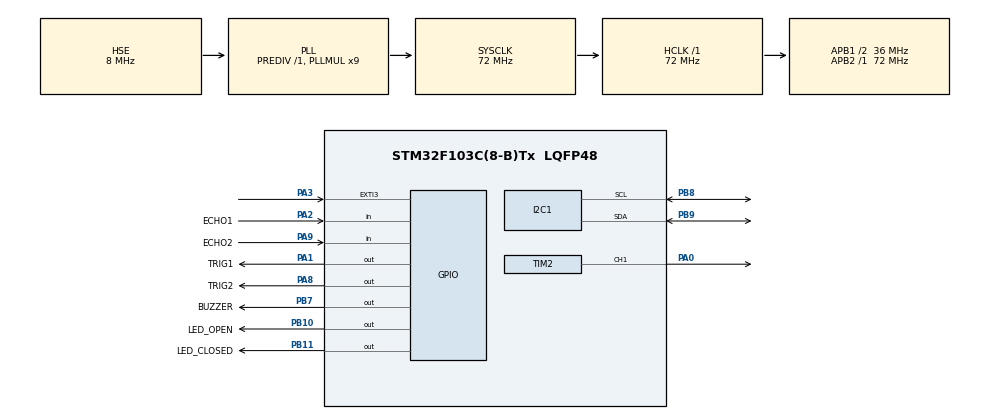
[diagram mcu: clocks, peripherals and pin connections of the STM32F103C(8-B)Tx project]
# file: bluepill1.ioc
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Mcu.Family=STM32F1
Mcu.Name=STM32F103C(8-B)Tx
Mcu.Package=LQFP48
NVIC.EXTI3_IRQn=true\:0\:0\:false\:false\:true\:true\:true\:true
NVIC.PriorityGroup=NVIC_PRIORITYGROUP_4
PA0-WKUP.Signal=S_TIM2_CH1_ETR
PA1.GPIO_Label=TRIG1
PA1.Signal=GPIO_Output
PA13.Mode=Serial_Wire
PA13.Signal=SYS_JTMS-SWDIO
PA14.Mode=Serial_Wire
PA14.Signal=SYS_JTCK-SWCLK
PA2.GPIO_Label=ECHO1
PA2.Signal=GPIO_Input
PA3.GPIO_ModeDefaultEXTI=GPIO_MODE_IT_RISING_FALLING
PA3.GPIO_PuPd=GPIO_PULLUP
PA3.Signal=GPXTI3
PA8.GPIO_Label=TRIG2
PA8.Signal=GPIO_Output
PA9.GPIO_Label=ECHO2
PA9.Signal=GPIO_Input
PB10.GPIO_Label=LED_OPEN
PB10.Signal=GPIO_Output
PB11.GPIO_Label=LED_CLOSED
PB11.Signal=GPIO_Output
PB7.GPIO_Label=BUZZER
PB7.Signal=GPIO_Output
PB8.Mode=I2C
PB8.Signal=I2C1_SCL
PB9.Mode=I2C
PB9.Signal=I2C1_SDA
PD0-OSC_IN.Mode=HSE-External-Oscillator
PD0-OSC_IN.Signal=RCC_OSC_IN
PD1-OSC_OUT.Mode=HSE-External-Oscillator
PD1-OSC_OUT.Signal=RCC_OSC_OUT
ProjectManager.HeapSize=0x200
ProjectManager.StackSize=0x400
ProjectManager.TargetToolchain=MDK-ARM V5.32
RCC.AHBFreq_Value=72000000
RCC.APB1CLKDivider=RCC_HCLK_DIV2
RCC.APB1Freq_Value=36000000
RCC.APB1TimFreq_Value=72000000
RCC.APB2Freq_Value=72000000
RCC.APB2TimFreq_Value=72000000
RCC.HCLKFreq_Value=72000000
RCC.PLLMUL=RCC_PLL_MUL9
RCC.PLLSourceVirtual=RCC_PLLSOURCE_HSE
RCC.SYSCLKFreq_VALUE=72000000
RCC.SYSCLKSource=RCC_SYSCLKSOURCE_PLLCLK
RCC.USBFreq_Value=72000000
SH.S_TIM2_CH1_ETR.0=TIM2_CH1,PWM Generation1 CH1
TIM2.Channel-PWM\ Generation1\ CH1=TIM_CHANNEL_1
TIM2.Period=19999
TIM2.Prescaler=71
TIM3.Prescaler=71
VP_TIM2_VS_ClockSourceINT.Mode=Internal
VP_TIM3_VS_ClockSourceINT.Mode=Internal
board=custom

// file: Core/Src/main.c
#include "main.h"

/* USER CODE BEGIN Includes */
#include "i2c-lcd.h"
#include <stdio.h>
/* USER CODE END Includes */

/* USER CODE BEGIN PTD */
typedef enum {
    BIN_CLOSED = 0,
    BIN_OPEN_WAITING,
    BIN_MANUAL_OPEN
} BinState_t;

/* USER CODE END PTD */

I2C_HandleTypeDef hi2c1;

TIM_HandleTypeDef htim2;
TIM_HandleTypeDef htim3;

/* USER CODE BEGIN PV */
I2C_LCD_HandleTypeDef my_lcd;

// Sensor Values
uint16_t Distance = 0;
uint16_t FillDistance = 0;
int FillPercentage = 0;

// Timing Tracking
uint32_t last_sensor_time = 0;
uint32_t motion_timestamp = 0;
uint32_t last_servo_move = 0;
static uint32_t last_fill_time = 0;

// State Variables
int current_pos = 1500;
int target_pos = 1500;
BinState_t current_state = BIN_CLOSED;
uint8_t was_full = 0;

// Buzzer Variables
uint8_t  buzzer_beeps_remaining = 0;
uint32_t buzzer_next_toggle = 0;
uint16_t buzzer_interval = 0;

/* USER CODE END PV */

void SystemClock_Config(void);
static void MX_GPIO_Init(void);
static void MX_TIM2_Init(void);
static void MX_I2C1_Init(void);
static void MX_TIM3_Init(void);
/* USER CODE BEGIN PFP */

float HCSR04_Read(GPIO_TypeDef* TRIG_PORT, uint16_t TRIG_PIN, GPIO_TypeDef* ECHO_PORT, uint16_t ECHO_PIN);
void Update_Servo_Position(uint32_t now);
void Set_Bin_Indicators(uint8_t open);
void Update_Fill_Level(uint32_t now);
void buzzer_start_sequence(uint8_t times, uint16_t duration_ms);
void Process_Buzzer(uint32_t now);

/* USER CODE END PFP */

int main(void)
{

  /* MCU Configuration--------------------------------------------------------*/

  /* Reset of all peripherals, Initializes the Flash interface and the Systick. */
  HAL_Init();

  /* Configure the system clock */
  SystemClock_Config();

  /* Initialize all configured peripherals */
  MX_GPIO_Init();
  MX_TIM2_Init();
  MX_I2C1_Init();
  MX_TIM3_Init();
  /* USER CODE BEGIN 2 */
  HAL_TIM_Base_Start(&htim2);
  HAL_TIM_PWM_Start(&htim2, TIM_CHANNEL_1);

  /* Force initial servo position */
  current_pos = 1500;
  target_pos  = 1500;
  __HAL_TIM_SET_COMPARE(&htim2, TIM_CHANNEL_1, current_pos);
  HAL_Delay(400);      // Allow servo to lock position

  HAL_TIM_Base_Start(&htim3);
  HAL_Delay(200);

  // Setup LCD configuration
  my_lcd.hi2c = &hi2c1;
  HAL_Delay(100);
  my_lcd.address = 0x27<<1;

  HAL_Delay(500);          // Let LCD fully power up
  lcd_init(&my_lcd);
  lcd_clear(&my_lcd);

  HAL_GPIO_WritePin(LED_CLOSED_GPIO_Port, LED_CLOSED_Pin, GPIO_PIN_SET); // Red LED ON

  /* USER CODE END 2 */

  /* Infinite loop */
  /* USER CODE BEGIN WHILE */

  while (1)
    {
        uint32_t now = HAL_GetTick();

        // 1. SENSOR POLLING (Motion Sensor)
        if ((now - last_sensor_time > 150) && (current_state == BIN_CLOSED)) {
            float d = HCSR04_Read(TRIG1_GPIO_Port, TRIG1_Pin, ECHO1_GPIO_Port, ECHO1_Pin);
            Distance = (d <= 2.0f || d > 400.0f) ? 999 : (uint16_t)d;
            last_sensor_time = now;
        }

        // 2. FILL LEVEL (LCD Update)
        Update_Fill_Level(now);

        // 3. STATE MACHINE
        switch (current_state) {
            case BIN_CLOSED:
                {

                    uint8_t hand_detected = (Distance >= 3 && Distance < 20);

                    if (hand_detected  && now > 2000) {
                        target_pos = 500; // Open Lid
                        motion_timestamp = now;
                        Set_Bin_Indicators(1);
                        buzzer_start_sequence(2, 100);
                        current_state = BIN_OPEN_WAITING;
                    }
                }
                break;

            case BIN_OPEN_WAITING: // State 1
            	if (now - motion_timestamp > 10000) {
            	    target_pos = 1500;
            	    Set_Bin_Indicators(0);
            	    Distance = 999;
            	    current_state = BIN_CLOSED;
            	}
                break;

			case BIN_MANUAL_OPEN: // State 3
				if (now - motion_timestamp > 10000) {
					 target_pos = 1500;
					 Set_Bin_Indicators(0);
					 Distance=999;
					 current_state = BIN_CLOSED;
				}
				break;
        }

        Update_Servo_Position(now);
        Process_Buzzer(now);
    }

    /* USER CODE END WHILE */

 }

void SystemClock_Config(void)
{
  RCC_OscInitTypeDef RCC_OscInitStruct = {0};
  RCC_ClkInitTypeDef RCC_ClkInitStruct = {0};

  /** Initializes the RCC Oscillators according to the specified parameters
  * in the RCC_OscInitTypeDef structure.
  */
  RCC_OscInitStruct.OscillatorType = RCC_OSCILLATORTYPE_HSE;
  RCC_OscInitStruct.HSEState = RCC_HSE_ON;
  RCC_OscInitStruct.HSEPredivValue = RCC_HSE_PREDIV_DIV1;
  RCC_OscInitStruct.HSIState = RCC_HSI_ON;
  RCC_OscInitStruct.PLL.PLLState = RCC_PLL_ON;
  RCC_OscInitStruct.PLL.PLLSource = RCC_PLLSOURCE_HSE;
  RCC_OscInitStruct.PLL.PLLMUL = RCC_PLL_MUL9;
  if (HAL_RCC_OscConfig(&RCC_OscInitStruct) != HAL_OK)
  {
    Error_Handler();
  }

  /** Initializes the CPU, AHB and APB buses clocks
  */
  RCC_ClkInitStruct.ClockType = RCC_CLOCKTYPE_HCLK|RCC_CLOCKTYPE_SYSCLK
                              |RCC_CLOCKTYPE_PCLK1|RCC_CLOCKTYPE_PCLK2;
  RCC_ClkInitStruct.SYSCLKSource = RCC_SYSCLKSOURCE_PLLCLK;
  RCC_ClkInitStruct.AHBCLKDivider = RCC_SYSCLK_DIV1;
  RCC_ClkInitStruct.APB1CLKDivider = RCC_HCLK_DIV2;
  RCC_ClkInitStruct.APB2CLKDivider = RCC_HCLK_DIV1;

  if (HAL_RCC_ClockConfig(&RCC_ClkInitStruct, FLASH_LATENCY_2) != HAL_OK)
  {
    Error_Handler();
  }
}

static void MX_I2C1_Init(void)
{

  hi2c1.Instance = I2C1;
  hi2c1.Init.ClockSpeed = 100000;
  hi2c1.Init.DutyCycle = I2C_DUTYCYCLE_2;
  hi2c1.Init.OwnAddress1 = 0;
  hi2c1.Init.AddressingMode = I2C_ADDRESSINGMODE_7BIT;
  hi2c1.Init.DualAddressMode = I2C_DUALADDRESS_DISABLE;
  hi2c1.Init.OwnAddress2 = 0;
  hi2c1.Init.GeneralCallMode = I2C_GENERALCALL_DISABLE;
  hi2c1.Init.NoStretchMode = I2C_NOSTRETCH_DISABLE;
  if (HAL_I2C_Init(&hi2c1) != HAL_OK)
  {
    Error_Handler();
  }

}

static void MX_TIM2_Init(void)
{

  TIM_ClockConfigTypeDef sClockSourceConfig = {0};
  TIM_MasterConfigTypeDef sMasterConfig = {0};
  TIM_OC_InitTypeDef sConfigOC = {0};

  htim2.Instance = TIM2;
  htim2.Init.Prescaler = 71;
  htim2.Init.CounterMode = TIM_COUNTERMODE_UP;
  htim2.Init.Period = 19999;
  htim2.Init.ClockDivision = TIM_CLOCKDIVISION_DIV1;
  htim2.Init.AutoReloadPreload = TIM_AUTORELOAD_PRELOAD_DISABLE;
  if (HAL_TIM_Base_Init(&htim2) != HAL_OK)
  {
    Error_Handler();
  }
  sClockSourceConfig.ClockSource = TIM_CLOCKSOURCE_INTERNAL;
  if (HAL_TIM_ConfigClockSource(&htim2, &sClockSourceConfig) != HAL_OK)
  {
    Error_Handler();
  }
  if (HAL_TIM_PWM_Init(&htim2) != HAL_OK)
  {
    Error_Handler();
  }
  sMasterConfig.MasterOutputTrigger = TIM_TRGO_RESET;
  sMasterConfig.MasterSlaveMode = TIM_MASTERSLAVEMODE_DISABLE;
  if (HAL_TIMEx_MasterConfigSynchronization(&htim2, &sMasterConfig) != HAL_OK)
  {
    Error_Handler();
  }
  sConfigOC.OCMode = TIM_OCMODE_PWM1;
  sConfigOC.Pulse = 0;
  sConfigOC.OCPolarity = TIM_OCPOLARITY_HIGH;
  sConfigOC.OCFastMode = TIM_OCFAST_DISABLE;
  if (HAL_TIM_PWM_ConfigChannel(&htim2, &sConfigOC, TIM_CHANNEL_1) != HAL_OK)
  {
    Error_Handler();
  }
  HAL_TIM_MspPostInit(&htim2);

}

static void MX_TIM3_Init(void)
{

  TIM_ClockConfigTypeDef sClockSourceConfig = {0};
  TIM_MasterConfigTypeDef sMasterConfig = {0};

  htim3.Instance = TIM3;
  htim3.Init.Prescaler = 71;
  htim3.Init.CounterMode = TIM_COUNTERMODE_UP;
  htim3.Init.Period = 65535;
  htim3.Init.ClockDivision = TIM_CLOCKDIVISION_DIV1;
  htim3.Init.AutoReloadPreload = TIM_AUTORELOAD_PRELOAD_DISABLE;
  if (HAL_TIM_Base_Init(&htim3) != HAL_OK)
  {
    Error_Handler();
  }
  sClockSourceConfig.ClockSource = TIM_CLOCKSOURCE_INTERNAL;
  if (HAL_TIM_ConfigClockSource(&htim3, &sClockSourceConfig) != HAL_OK)
  {
    Error_Handler();
  }
  sMasterConfig.MasterOutputTrigger = TIM_TRGO_RESET;
  sMasterConfig.MasterSlaveMode = TIM_MASTERSLAVEMODE_DISABLE;
  if (HAL_TIMEx_MasterConfigSynchronization(&htim3, &sMasterConfig) != HAL_OK)
  {
    Error_Handler();
  }

}

static void MX_GPIO_Init(void)
{
  GPIO_InitTypeDef GPIO_InitStruct = {0};

  /* GPIO Ports Clock Enable */
  __HAL_RCC_GPIOD_CLK_ENABLE();
  __HAL_RCC_GPIOA_CLK_ENABLE();
  __HAL_RCC_GPIOB_CLK_ENABLE();

  /*Configure GPIO pin Output Level */
  HAL_GPIO_WritePin(GPIOA, TRIG1_Pin|TRIG2_Pin, GPIO_PIN_RESET);

  /*Configure GPIO pin Output Level */
  HAL_GPIO_WritePin(GPIOB, LED_OPEN_Pin|LED_CLOSED_Pin|BUZZER_Pin, GPIO_PIN_RESET);

  /*Configure GPIO pins : TRIG1_Pin TRIG2_Pin */
  GPIO_InitStruct.Pin = TRIG1_Pin|TRIG2_Pin;
  GPIO_InitStruct.Mode = GPIO_MODE_OUTPUT_PP;
  GPIO_InitStruct.Pull = GPIO_NOPULL;
  GPIO_InitStruct.Speed = GPIO_SPEED_FREQ_LOW;
  HAL_GPIO_Init(GPIOA, &GPIO_InitStruct);

  /*Configure GPIO pins : ECHO1_Pin ECHO2_Pin */
  GPIO_InitStruct.Pin = ECHO1_Pin|ECHO2_Pin;
  GPIO_InitStruct.Mode = GPIO_MODE_INPUT;
  GPIO_InitStruct.Pull = GPIO_NOPULL;
  HAL_GPIO_Init(GPIOA, &GPIO_InitStruct);

  /*Configure GPIO pin : PA3 */
  GPIO_InitStruct.Pin = GPIO_PIN_3;
  GPIO_InitStruct.Mode = GPIO_MODE_IT_RISING_FALLING;
  GPIO_InitStruct.Pull = GPIO_PULLUP;
  HAL_GPIO_Init(GPIOA, &GPIO_InitStruct);

  /*Configure GPIO pins : LED_OPEN_Pin LED_CLOSED_Pin BUZZER_Pin */
  GPIO_InitStruct.Pin = LED_OPEN_Pin|LED_CLOSED_Pin|BUZZER_Pin;
  GPIO_InitStruct.Mode = GPIO_MODE_OUTPUT_PP;
  GPIO_InitStruct.Pull = GPIO_NOPULL;
  GPIO_InitStruct.Speed = GPIO_SPEED_FREQ_LOW;
  HAL_GPIO_Init(GPIOB, &GPIO_InitStruct);

  /* EXTI interrupt init*/
  HAL_NVIC_SetPriority(EXTI3_IRQn, 0, 0);
  HAL_NVIC_EnableIRQ(EXTI3_IRQn);

}

/* USER CODE BEGIN 4 */

void HAL_GPIO_EXTI_Callback(uint16_t GPIO_Pin)
{
    static uint32_t last_press = 0;

    if (GPIO_Pin == GPIO_PIN_3) {
        uint32_t now = HAL_GetTick();

        // debounce: 300 ms
        if (now - last_press < 300) return;
        last_press = now;

        // only allow manual open from closed state
        if (current_state == BIN_CLOSED) {
            current_state = BIN_MANUAL_OPEN;
            target_pos = 500;
            motion_timestamp = now;
            Set_Bin_Indicators(1);
            buzzer_start_sequence(2, 100);
        }
    }
}

// Trigger a beep sequence
void buzzer_start_sequence(uint8_t times, uint16_t duration_ms) {
    buzzer_beeps_remaining = times * 2; // 2 toggles per beep (ON then OFF)
    buzzer_interval = duration_ms;
    buzzer_next_toggle = HAL_GetTick();
}

void Process_Buzzer(uint32_t now) {
    if (buzzer_beeps_remaining > 0) {
        if (now >= buzzer_next_toggle) {
            HAL_GPIO_TogglePin(BUZZER_GPIO_Port, BUZZER_Pin);
            buzzer_beeps_remaining--;
            buzzer_next_toggle = now + buzzer_interval;
        }
    } else {
        HAL_GPIO_WritePin(BUZZER_GPIO_Port, BUZZER_Pin, GPIO_PIN_RESET);
    }
}

// open led and close led function
void Set_Bin_Indicators(uint8_t open) {
    if (open) {
        HAL_GPIO_WritePin(LED_OPEN_GPIO_Port, LED_OPEN_Pin, GPIO_PIN_SET);    // White ON
        HAL_GPIO_WritePin(LED_CLOSED_GPIO_Port, LED_CLOSED_Pin, GPIO_PIN_RESET); // Red OFF
    } else {
        HAL_GPIO_WritePin(LED_OPEN_GPIO_Port, LED_OPEN_Pin, GPIO_PIN_RESET);  // White OFF
        HAL_GPIO_WritePin(LED_CLOSED_GPIO_Port, LED_CLOSED_Pin, GPIO_PIN_SET);   // Red ON
    }
}

// update lcd with fill level function
void Update_Fill_Level(uint32_t now) {
    if (now - last_fill_time > 500) {
    	float raw_dist = HCSR04_Read(TRIG2_GPIO_Port, TRIG2_Pin, ECHO2_GPIO_Port, ECHO2_Pin);

        if (raw_dist < 0) raw_dist = 16.0f;

        FillDistance = (uint16_t)raw_dist;
        FillPercentage = 100 - (((FillDistance - 3) * 100) / (16 - 3));
        if (FillPercentage < 0) FillPercentage = 0;
        if (FillPercentage > 100) FillPercentage = 100;

        char fillBuffer[16];
        sprintf(fillBuffer, "Fill: %d%%      ", FillPercentage);
        lcd_gotoxy(&my_lcd, 0, 1);
        lcd_puts(&my_lcd, fillBuffer);

        char line0[17];

        if (FillPercentage >= 100) {
            snprintf(line0, 17, "FULL! EMPTY BIN ");
            if (was_full == 0) {
                buzzer_start_sequence(3, 200);
                was_full = 1;
            }
        } else {
            snprintf(line0, 17, "                ");
            was_full = 0;
        }

        lcd_gotoxy(&my_lcd, 0, 0);
        lcd_puts(&my_lcd, line0);

        last_fill_time = now;
    }
}

// ultrasonic sensor reading function
float HCSR04_Read(GPIO_TypeDef* TRIG_PORT, uint16_t TRIG_PIN, GPIO_TypeDef* ECHO_PORT, uint16_t ECHO_PIN) {

    // 1. Send 10us Trigger
    HAL_GPIO_WritePin(TRIG_PORT, TRIG_PIN, GPIO_PIN_SET);
    __HAL_TIM_SET_COUNTER(&htim3, 0);
    while (__HAL_TIM_GET_COUNTER(&htim3) < 10);
    HAL_GPIO_WritePin(TRIG_PORT, TRIG_PIN, GPIO_PIN_RESET);

    // 2. Wait for Echo to go HIGH
    uint32_t timeout = 2000;
    while (HAL_GPIO_ReadPin(ECHO_PORT, ECHO_PIN) == GPIO_PIN_RESET && timeout > 0) timeout--;
    if (timeout == 0) return -1.0f;

    uint32_t t_start = __HAL_TIM_GET_COUNTER(&htim3);

    // 3. Wait for Echo to go LOW
    timeout = 30000;
    while (HAL_GPIO_ReadPin(ECHO_PORT, ECHO_PIN) == GPIO_PIN_SET && timeout > 0) timeout--;
    uint32_t t_stop = __HAL_TIM_GET_COUNTER(&htim3);

    // 4. Calculate distance
    uint32_t diff;
    if (t_stop >= t_start)
        diff = t_stop - t_start;
    else
        diff = 65535 - t_start + t_stop;

    return (float)(diff * 0.034f / 2.0f);
}

// servo position updating function
void Update_Servo_Position(uint32_t now)
{
    if (now - last_servo_move > 15) {

        if (current_pos < target_pos) current_pos += 20;
        else if (current_pos > target_pos) current_pos -= 20;

        // safety clamp
        if (current_pos < 500)  current_pos = 500;
        if (current_pos > 2500) current_pos = 2500;

        __HAL_TIM_SET_COMPARE(&htim2, TIM_CHANNEL_1, current_pos);
        last_servo_move = now;
    }
}

/* USER CODE END 4 */

void Error_Handler(void)
{
  __disable_irq();
  while (1)
  {
  }
}
